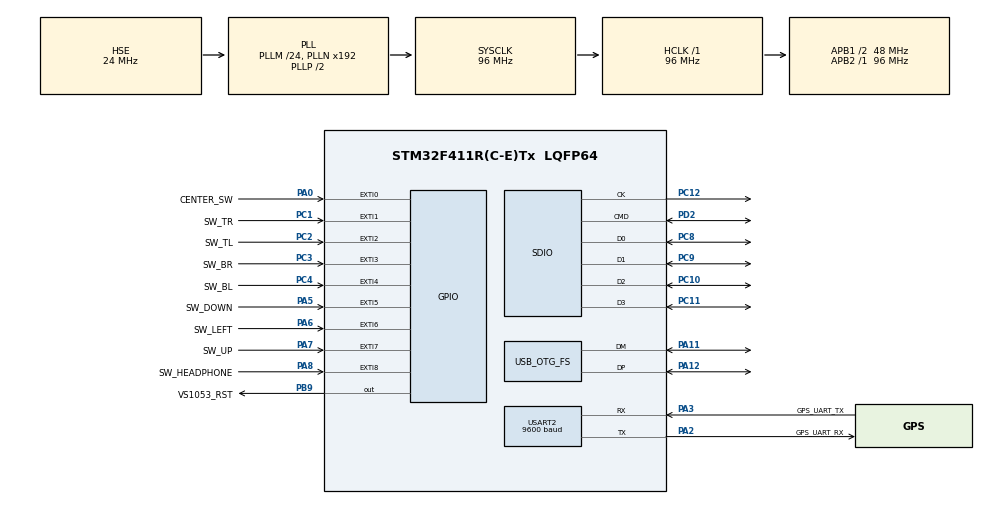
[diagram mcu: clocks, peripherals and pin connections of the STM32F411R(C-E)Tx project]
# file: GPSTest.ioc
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Dma.Request0=USART2_RX
Dma.Request1=USART2_TX
Dma.USART2_RX.0.Direction=DMA_PERIPH_TO_MEMORY
Dma.USART2_RX.0.FIFOMode=DMA_FIFOMODE_DISABLE
Dma.USART2_RX.0.Instance=DMA1_Stream5
Dma.USART2_RX.0.MemDataAlignment=DMA_MDATAALIGN_BYTE
Dma.USART2_RX.0.MemInc=DMA_MINC_ENABLE
Dma.USART2_RX.0.Mode=DMA_CIRCULAR
Dma.USART2_RX.0.PeriphDataAlignment=DMA_PDATAALIGN_BYTE
Dma.USART2_RX.0.PeriphInc=DMA_PINC_DISABLE
Dma.USART2_RX.0.Priority=DMA_PRIORITY_LOW
Dma.USART2_TX.1.Direction=DMA_MEMORY_TO_PERIPH
Dma.USART2_TX.1.FIFOMode=DMA_FIFOMODE_DISABLE
Dma.USART2_TX.1.Instance=DMA1_Stream6
Dma.USART2_TX.1.MemDataAlignment=DMA_MDATAALIGN_BYTE
Dma.USART2_TX.1.MemInc=DMA_MINC_ENABLE
Dma.USART2_TX.1.Mode=DMA_NORMAL
Dma.USART2_TX.1.PeriphDataAlignment=DMA_PDATAALIGN_BYTE
Dma.USART2_TX.1.PeriphInc=DMA_PINC_DISABLE
Dma.USART2_TX.1.Priority=DMA_PRIORITY_LOW
Mcu.Family=STM32F4
Mcu.Name=STM32F411R(C-E)Tx
Mcu.Package=LQFP64
NVIC.DMA1_Stream5_IRQn=true\:0\:0\:false\:false\:true
NVIC.DMA1_Stream6_IRQn=true\:0\:0\:false\:false\:true
NVIC.EXTI0_IRQn=true\:0\:0\:false\:false\:true
NVIC.EXTI1_IRQn=true\:0\:0\:false\:false\:true
NVIC.EXTI2_IRQn=true\:0\:0\:false\:false\:true
NVIC.EXTI3_IRQn=true\:0\:0\:false\:false\:true
NVIC.EXTI4_IRQn=true\:0\:0\:false\:false\:true
NVIC.EXTI9_5_IRQn=true\:0\:0\:false\:false\:true
NVIC.OTG_FS_IRQn=true\:0\:0\:false\:false\:true
NVIC.PriorityGroup=NVIC_PRIORITYGROUP_4
PA0-WKUP.GPIO_Label=CENTER_SW
PA0-WKUP.GPIO_ModeDefaultEXTI=GPIO_MODE_IT_FALLING
PA0-WKUP.Signal=GPXTI0
PA11.Mode=Device_Only
PA11.Signal=USB_OTG_FS_DM
PA12.Mode=Device_Only
PA12.Signal=USB_OTG_FS_DP
PA13.Mode=Serial_Wire
PA13.Signal=SYS_JTMS-SWDIO
PA14.Mode=Serial_Wire
PA14.Signal=SYS_JTCK-SWCLK
PA2.GPIO_Label=GPS_UART_RX
PA2.Mode=Asynchronous
PA2.Signal=USART2_TX
PA3.GPIO_Label=GPS_UART_TX
PA3.Mode=Asynchronous
PA3.Signal=USART2_RX
PA5.GPIO_Label=SW_DOWN
PA5.Signal=GPXTI5
PA6.GPIO_Label=SW_LEFT
PA6.Signal=GPXTI6
PA7.GPIO_Label=SW_UP
PA7.Signal=GPXTI7
PA8.GPIO_Label=SW_HEADPHONE
PA8.Signal=GPXTI8
PB9.GPIO_Label=VS1053_RST
PB9.GPIO_PuPd=GPIO_PULLUP
PB9.PinState=GPIO_PIN_SET
PB9.Signal=GPIO_Output
PC1.GPIO_Label=SW_TR
PC1.Signal=GPXTI1
PC10.Mode=SD_4_bits_Wide_bus
PC10.Signal=SDIO_D2
PC11.Mode=SD_4_bits_Wide_bus
PC11.Signal=SDIO_D3
PC12.Mode=SD_4_bits_Wide_bus
PC12.Signal=SDIO_CK
PC14-OSC32_IN.Mode=LSE-External-Oscillator
PC14-OSC32_IN.Signal=RCC_OSC32_IN
PC15-OSC32_OUT.Mode=LSE-External-Oscillator
PC15-OSC32_OUT.Signal=RCC_OSC32_OUT
PC2.GPIO_Label=SW_TL
PC2.Signal=GPXTI2
PC3.GPIO_Label=SW_BR
PC3.Signal=GPXTI3
PC4.GPIO_Label=SW_BL
PC4.Signal=GPXTI4
PC8.Mode=SD_4_bits_Wide_bus
PC8.Signal=SDIO_D0
PC9.Mode=SD_4_bits_Wide_bus
PC9.Signal=SDIO_D1
PD2.Mode=SD_4_bits_Wide_bus
PD2.Signal=SDIO_CMD
PH0\ -\ OSC_IN.Mode=HSE-External-Oscillator
PH0\ -\ OSC_IN.Signal=RCC_OSC_IN
PH1\ -\ OSC_OUT.Mode=HSE-External-Oscillator
PH1\ -\ OSC_OUT.Signal=RCC_OSC_OUT
ProjectManager.HeapSize=0x200
ProjectManager.StackSize=0x400
ProjectManager.TargetToolchain=SW4STM32
RCC.48MHZClocksFreq_Value=48000000
RCC.AHBFreq_Value=96000000
RCC.APB1CLKDivider=RCC_HCLK_DIV2
RCC.APB1Freq_Value=48000000
RCC.APB1TimFreq_Value=96000000
RCC.APB2Freq_Value=96000000
RCC.APB2TimFreq_Value=96000000
RCC.CortexFreq_Value=96000000
RCC.HCLKFreq_Value=96000000
RCC.HSE_VALUE=24000000
RCC.HSI_VALUE=16000000
RCC.PLLM=24
RCC.RCC_RTC_Clock_Source=RCC_RTCCLKSOURCE_LSE
RCC.RCC_RTC_Clock_SourceVirtual=RCC_RTCCLKSOURCE_LSE
RCC.SYSCLKFreq_VALUE=96000000
RCC.SYSCLKSource=RCC_SYSCLKSOURCE_PLLCLK
RCC.VCOOutputFreq_Value=192000000
SDIO.BusWide=SDIO_BUS_WIDE_1B
SDIO.WideMode=SDIO_BUS_WIDE_4B
USART2.BaudRate=9600
USB_DEVICE.USBD_HandleTypeDef=hUsbDeviceFS
USB_DEVICE.VirtualMode=Msc
USB_DEVICE.VirtualModeFS=Msc_FS
USB_OTG_FS.VirtualMode=Device_Only
VP_FATFS_VS_SDIO.Mode=SDIO
VP_RTC_VS_RTC_Alarm_A_Intern.Mode=Alarm A
VP_USB_DEVICE_VS_USB_DEVICE_MSC_FS.Mode=MSC_FS
board=GPSTest

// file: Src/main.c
/**
  ******************************************************************************
  * File Name          : main.c
  * Description        : Main program body
  ******************************************************************************
  *
  * COPYRIGHT(c) 2016 STMicroelectronics
  *
  * Redistribution and use in source and binary forms, with or without modification,
  * are permitted provided that the following conditions are met:
  *   1. Redistributions of source code must retain the above copyright notice,
  *      this list of conditions and the following disclaimer.
  *   2. Redistributions in binary form must reproduce the above copyright notice,
  *      this list of conditions and the following disclaimer in the documentation
  *      and/or other materials provided with the distribution.
  *   3. Neither the name of STMicroelectronics nor the names of its contributors
  *      may be used to endorse or promote products derived from this software
  *      without specific prior written permission.
  *
  * THIS SOFTWARE IS PROVIDED BY THE COPYRIGHT HOLDERS AND CONTRIBUTORS "AS IS"
  * AND ANY EXPRESS OR IMPLIED WARRANTIES, INCLUDING, BUT NOT LIMITED TO, THE
  * IMPLIED WARRANTIES OF MERCHANTABILITY AND FITNESS FOR A PARTICULAR PURPOSE ARE
  * DISCLAIMED. IN NO EVENT SHALL THE COPYRIGHT HOLDER OR CONTRIBUTORS BE LIABLE
  * FOR ANY DIRECT, INDIRECT, INCIDENTAL, SPECIAL, EXEMPLARY, OR CONSEQUENTIAL
  * DAMAGES (INCLUDING, BUT NOT LIMITED TO, PROCUREMENT OF SUBSTITUTE GOODS OR
  * SERVICES; LOSS OF USE, DATA, OR PROFITS; OR BUSINESS INTERRUPTION) HOWEVER
  * CAUSED AND ON ANY THEORY OF LIABILITY, WHETHER IN CONTRACT, STRICT LIABILITY,
  * OR TORT (INCLUDING NEGLIGENCE OR OTHERWISE) ARISING IN ANY WAY OUT OF THE USE
  * OF THIS SOFTWARE, EVEN IF ADVISED OF THE POSSIBILITY OF SUCH DAMAGE.
  *
  ******************************************************************************
  */
#include "stm32f4xx_hal.h"
#include "fatfs.h"
#include "usb_device.h"

/* USER CODE BEGIN Includes */
#include "User\RunTrackerGPS.h"
/* USER CODE END Includes */

RTC_HandleTypeDef hrtc;

SD_HandleTypeDef hsd;
HAL_SD_CardInfoTypedef SDCardInfo;

UART_HandleTypeDef huart2;
DMA_HandleTypeDef hdma_usart2_rx;
DMA_HandleTypeDef hdma_usart2_tx;

/* USER CODE BEGIN PV */
/* Private variables ---------------------------------------------------------*/
RunTracker_GPS GPS;
/* USER CODE END PV */

void SystemClock_Config(void);
void Error_Handler(void);
static void MX_GPIO_Init(void);
static void MX_DMA_Init(void);
static void MX_USART2_UART_Init(void);
static void MX_SDIO_SD_Init(void);
static void MX_RTC_Init(void);

/* USER CODE BEGIN PFP */
/* Private function prototypes -----------------------------------------------*/

/* USER CODE END PFP */

int main(void)
{

  /* MCU Configuration----------------------------------------------------------*/

  /* Reset of all peripherals, Initializes the Flash interface and the Systick. */
  HAL_Init();

  /* Configure the system clock */
  SystemClock_Config();

  /* Initialize all configured peripherals */
  MX_GPIO_Init();
  MX_DMA_Init();
  MX_USART2_UART_Init();
  MX_SDIO_SD_Init();
  MX_FATFS_Init();
  MX_RTC_Init();
  MX_USB_DEVICE_Init();

  /* USER CODE BEGIN 2 */
#if 0
  FIL MyFile;
  if(f_open(&MyFile, "STM32.TXT", FA_CREATE_ALWAYS | FA_WRITE) != FR_OK)
  {
    /* 'STM32.TXT' file Open for write Error */
    Error_Handler();
  }
  else
  {
    // Initialize GPS with USART2
    RunTracker_GPS_Init(&GPS, &huart2);
  }
#else
  RunTracker_GPS_Init(&GPS, &huart2);
#endif

  // Create a filesystem

  /* USER CODE END 2 */

  /* Infinite loop */
  while (1)
  {

  }

}

/** System Clock Configuration
*/
void SystemClock_Config(void)
{

  RCC_OscInitTypeDef RCC_OscInitStruct;
  RCC_ClkInitTypeDef RCC_ClkInitStruct;
  RCC_PeriphCLKInitTypeDef PeriphClkInitStruct;

  __HAL_RCC_PWR_CLK_ENABLE();

  __HAL_PWR_VOLTAGESCALING_CONFIG(PWR_REGULATOR_VOLTAGE_SCALE1);

  RCC_OscInitStruct.OscillatorType = RCC_OSCILLATORTYPE_HSE|RCC_OSCILLATORTYPE_LSE;
  RCC_OscInitStruct.HSEState = RCC_HSE_ON;
  RCC_OscInitStruct.LSEState = RCC_LSE_ON;
  RCC_OscInitStruct.PLL.PLLState = RCC_PLL_ON;
  RCC_OscInitStruct.PLL.PLLSource = RCC_PLLSOURCE_HSE;
  RCC_OscInitStruct.PLL.PLLM = 24;
  RCC_OscInitStruct.PLL.PLLN = 192;
  RCC_OscInitStruct.PLL.PLLP = RCC_PLLP_DIV2;
  RCC_OscInitStruct.PLL.PLLQ = 4;
  if (HAL_RCC_OscConfig(&RCC_OscInitStruct) != HAL_OK)
  {
    Error_Handler();
  }

  RCC_ClkInitStruct.ClockType = RCC_CLOCKTYPE_HCLK|RCC_CLOCKTYPE_SYSCLK
                              |RCC_CLOCKTYPE_PCLK1|RCC_CLOCKTYPE_PCLK2;
  RCC_ClkInitStruct.SYSCLKSource = RCC_SYSCLKSOURCE_PLLCLK;
  RCC_ClkInitStruct.AHBCLKDivider = RCC_SYSCLK_DIV1;
  RCC_ClkInitStruct.APB1CLKDivider = RCC_HCLK_DIV2;
  RCC_ClkInitStruct.APB2CLKDivider = RCC_HCLK_DIV1;
  if (HAL_RCC_ClockConfig(&RCC_ClkInitStruct, FLASH_LATENCY_3) != HAL_OK)
  {
    Error_Handler();
  }

  PeriphClkInitStruct.PeriphClockSelection = RCC_PERIPHCLK_RTC;
  PeriphClkInitStruct.RTCClockSelection = RCC_RTCCLKSOURCE_LSE;
  if (HAL_RCCEx_PeriphCLKConfig(&PeriphClkInitStruct) != HAL_OK)
  {
    Error_Handler();
  }

  HAL_SYSTICK_Config(HAL_RCC_GetHCLKFreq()/1000);

  HAL_SYSTICK_CLKSourceConfig(SYSTICK_CLKSOURCE_HCLK);

  /* SysTick_IRQn interrupt configuration */
  HAL_NVIC_SetPriority(SysTick_IRQn, 0, 0);
}

/* RTC init function */
static void MX_RTC_Init(void)
{

  RTC_TimeTypeDef sTime;
  RTC_DateTypeDef sDate;
  RTC_AlarmTypeDef sAlarm;

    /**Initialize RTC and set the Time and Date
    */
  hrtc.Instance = RTC;
  hrtc.Init.HourFormat = RTC_HOURFORMAT_24;
  hrtc.Init.AsynchPrediv = 127;
  hrtc.Init.SynchPrediv = 255;
  hrtc.Init.OutPut = RTC_OUTPUT_DISABLE;
  hrtc.Init.OutPutPolarity = RTC_OUTPUT_POLARITY_HIGH;
  hrtc.Init.OutPutType = RTC_OUTPUT_TYPE_OPENDRAIN;
  if (HAL_RTC_Init(&hrtc) != HAL_OK)
  {
    Error_Handler();
  }

  sTime.Hours = 0x0;
  sTime.Minutes = 0x0;
  sTime.Seconds = 0x0;
  sTime.DayLightSaving = RTC_DAYLIGHTSAVING_NONE;
  sTime.StoreOperation = RTC_STOREOPERATION_RESET;
  if (HAL_RTC_SetTime(&hrtc, &sTime, RTC_FORMAT_BCD) != HAL_OK)
  {
    Error_Handler();
  }

  sDate.WeekDay = RTC_WEEKDAY_MONDAY;
  sDate.Month = RTC_MONTH_JANUARY;
  sDate.Date = 0x1;
  sDate.Year = 0x0;

  if (HAL_RTC_SetDate(&hrtc, &sDate, RTC_FORMAT_BCD) != HAL_OK)
  {
    Error_Handler();
  }

    /**Enable the Alarm A
    */
  sAlarm.AlarmTime.Hours = 0x0;
  sAlarm.AlarmTime.Minutes = 0x0;
  sAlarm.AlarmTime.Seconds = 0x0;
  sAlarm.AlarmTime.SubSeconds = 0x0;
  sAlarm.AlarmTime.DayLightSaving = RTC_DAYLIGHTSAVING_NONE;
  sAlarm.AlarmTime.StoreOperation = RTC_STOREOPERATION_RESET;
  sAlarm.AlarmMask = RTC_ALARMMASK_NONE;
  sAlarm.AlarmSubSecondMask = RTC_ALARMSUBSECONDMASK_ALL;
  sAlarm.AlarmDateWeekDaySel = RTC_ALARMDATEWEEKDAYSEL_DATE;
  sAlarm.AlarmDateWeekDay = 0x1;
  sAlarm.Alarm = RTC_ALARM_A;
  if (HAL_RTC_SetAlarm(&hrtc, &sAlarm, RTC_FORMAT_BCD) != HAL_OK)
  {
    Error_Handler();
  }

}

/* SDIO init function */
static void MX_SDIO_SD_Init(void)
{

  hsd.Instance = SDIO;
  hsd.Init.ClockEdge = SDIO_CLOCK_EDGE_RISING;
  hsd.Init.ClockBypass = SDIO_CLOCK_BYPASS_DISABLE;
  hsd.Init.ClockPowerSave = SDIO_CLOCK_POWER_SAVE_DISABLE;
  hsd.Init.BusWide = SDIO_BUS_WIDE_1B;
  hsd.Init.HardwareFlowControl = SDIO_HARDWARE_FLOW_CONTROL_DISABLE;
  hsd.Init.ClockDiv = 0;

}

/* USART2 init function */
static void MX_USART2_UART_Init(void)
{

  huart2.Instance = USART2;
  huart2.Init.BaudRate = 9600;
  huart2.Init.WordLength = UART_WORDLENGTH_8B;
  huart2.Init.StopBits = UART_STOPBITS_1;
  huart2.Init.Parity = UART_PARITY_NONE;
  huart2.Init.Mode = UART_MODE_TX_RX;
  huart2.Init.HwFlowCtl = UART_HWCONTROL_NONE;
  huart2.Init.OverSampling = UART_OVERSAMPLING_16;
  if (HAL_UART_Init(&huart2) != HAL_OK)
  {
    Error_Handler();
  }

}

static void MX_DMA_Init(void)
{
  /* DMA controller clock enable */
  __HAL_RCC_DMA1_CLK_ENABLE();

  /* DMA interrupt init */
  /* DMA1_Stream5_IRQn interrupt configuration */
  HAL_NVIC_SetPriority(DMA1_Stream5_IRQn, 0, 0);
  HAL_NVIC_EnableIRQ(DMA1_Stream5_IRQn);
  /* DMA1_Stream6_IRQn interrupt configuration */
  HAL_NVIC_SetPriority(DMA1_Stream6_IRQn, 0, 0);
  HAL_NVIC_EnableIRQ(DMA1_Stream6_IRQn);

}

/** Configure pins as
        * Analog
        * Input
        * Output
        * EVENT_OUT
        * EXTI
*/
static void MX_GPIO_Init(void)
{

  GPIO_InitTypeDef GPIO_InitStruct;

  /* GPIO Ports Clock Enable */
  __HAL_RCC_GPIOC_CLK_ENABLE();
  __HAL_RCC_GPIOH_CLK_ENABLE();
  __HAL_RCC_GPIOA_CLK_ENABLE();
  __HAL_RCC_GPIOD_CLK_ENABLE();
  __HAL_RCC_GPIOB_CLK_ENABLE();

  /*Configure GPIO pins : SW_TR_Pin SW_TL_Pin SW_BR_Pin SW_BL_Pin */
  GPIO_InitStruct.Pin = SW_TR_Pin|SW_TL_Pin|SW_BR_Pin|SW_BL_Pin;
  GPIO_InitStruct.Mode = GPIO_MODE_IT_RISING;
  GPIO_InitStruct.Pull = GPIO_NOPULL;
  HAL_GPIO_Init(GPIOC, &GPIO_InitStruct);

  /*Configure GPIO pin : CENTER_SW_Pin */
  GPIO_InitStruct.Pin = CENTER_SW_Pin;
  GPIO_InitStruct.Mode = GPIO_MODE_IT_FALLING;
  GPIO_InitStruct.Pull = GPIO_NOPULL;
  HAL_GPIO_Init(CENTER_SW_GPIO_Port, &GPIO_InitStruct);

  /*Configure GPIO pins : SW_DOWN_Pin SW_LEFT_Pin SW_UP_Pin SW_HEADPHONE_Pin */
  GPIO_InitStruct.Pin = SW_DOWN_Pin|SW_LEFT_Pin|SW_UP_Pin|SW_HEADPHONE_Pin;
  GPIO_InitStruct.Mode = GPIO_MODE_IT_RISING;
  GPIO_InitStruct.Pull = GPIO_NOPULL;
  HAL_GPIO_Init(GPIOA, &GPIO_InitStruct);

  /*Configure GPIO pin : VS1053_RST_Pin */
  GPIO_InitStruct.Pin = VS1053_RST_Pin;
  GPIO_InitStruct.Mode = GPIO_MODE_OUTPUT_PP;
  GPIO_InitStruct.Pull = GPIO_PULLUP;
  GPIO_InitStruct.Speed = GPIO_SPEED_FREQ_LOW;
  HAL_GPIO_Init(VS1053_RST_GPIO_Port, &GPIO_InitStruct);

  /*Configure GPIO pin Output Level */
  HAL_GPIO_WritePin(VS1053_RST_GPIO_Port, VS1053_RST_Pin, GPIO_PIN_SET);

  /* EXTI interrupt init*/
  HAL_NVIC_SetPriority(EXTI0_IRQn, 0, 0);
  HAL_NVIC_EnableIRQ(EXTI0_IRQn);

  HAL_NVIC_SetPriority(EXTI1_IRQn, 0, 0);
  HAL_NVIC_EnableIRQ(EXTI1_IRQn);

  HAL_NVIC_SetPriority(EXTI2_IRQn, 0, 0);
  HAL_NVIC_EnableIRQ(EXTI2_IRQn);

  HAL_NVIC_SetPriority(EXTI3_IRQn, 0, 0);
  HAL_NVIC_EnableIRQ(EXTI3_IRQn);

  HAL_NVIC_SetPriority(EXTI4_IRQn, 0, 0);
  HAL_NVIC_EnableIRQ(EXTI4_IRQn);

  HAL_NVIC_SetPriority(EXTI9_5_IRQn, 0, 0);
  HAL_NVIC_EnableIRQ(EXTI9_5_IRQn);

}

/* USER CODE BEGIN 4 */

void HAL_UART_RxCpltCallback(UART_HandleTypeDef *huart)
{
  if(huart == &huart2)
  {
    RunTracker_GPS_RXCallback(&GPS, false);
  }
}

void HAL_UART_RxHalfCpltCallback(UART_HandleTypeDef *huart)
{
  if(huart == &huart2)
  {
    RunTracker_GPS_RXCallback(&GPS, true);
  }
}

void HAL_GPIO_EXTI_Callback(uint16_t GPIO_Pin)
{
  switch(GPIO_Pin)
  {
  case CENTER_SW_Pin:
    break;

  case SW_UP_Pin:
    break;

  case SW_DOWN_Pin:
    break;

  case SW_LEFT_Pin:
    break;

  case SW_TR_Pin:
    break;

  case SW_TL_Pin:
    break;

  case SW_BR_Pin:
    break;

  case SW_BL_Pin:
    break;
    /*
  case ACCEL_INT1_Pin:
    break;

  case ACCEL_INT2_Pin:
    break;

  case VS1053_DREQ_Pin:
    break;
     */
  case SW_HEADPHONE_Pin:
    break;

  default:
    break;
  }
}

/* USER CODE END 4 */

void Error_Handler(void)
{
  while(1)
  {
  }
}

/************************ (C) COPYRIGHT STMicroelectronics *****END OF FILE****/
